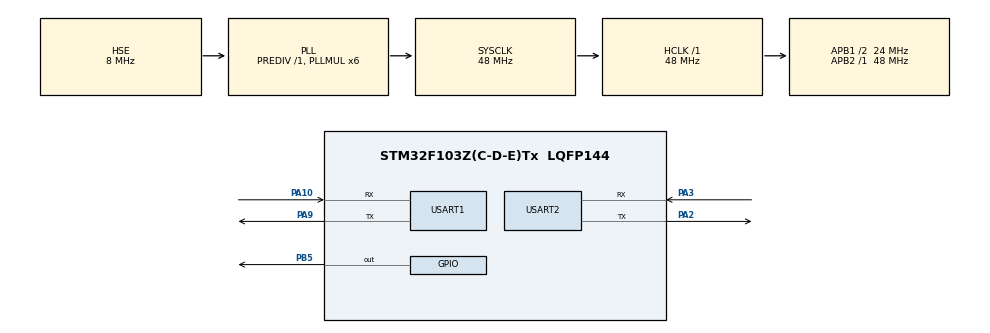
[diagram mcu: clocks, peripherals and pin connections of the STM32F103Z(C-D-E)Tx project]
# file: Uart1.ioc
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Mcu.Family=STM32F1
Mcu.Name=STM32F103Z(C-D-E)Tx
Mcu.Package=LQFP144
NVIC.PriorityGroup=NVIC_PRIORITYGROUP_2
NVIC.USART1_IRQn=true\:0\:1\:true\:false\:true\:true\:true
NVIC.USART2_IRQn=true\:0\:0\:false\:false\:true\:true\:true
OSC_IN.Mode=HSE-External-Oscillator
OSC_IN.Signal=RCC_OSC_IN
OSC_OUT.Mode=HSE-External-Oscillator
OSC_OUT.Signal=RCC_OSC_OUT
PA10.Mode=Asynchronous
PA10.Signal=USART1_RX
PA13.Mode=JTAG_4_pins
PA13.Signal=SYS_JTMS-SWDIO
PA14.Mode=JTAG_4_pins
PA14.Signal=SYS_JTCK-SWCLK
PA15.Mode=JTAG_4_pins
PA15.Signal=SYS_JTDI
PA2.Mode=Asynchronous
PA2.Signal=USART2_TX
PA3.Mode=Asynchronous
PA3.Signal=USART2_RX
PA9.Mode=Asynchronous
PA9.Signal=USART1_TX
PB3.Mode=JTAG_4_pins
PB3.Signal=SYS_JTDO-TRACESWO
PB5.Signal=GPIO_Output
PC14-OSC32_IN.Mode=LSE-External-Oscillator
PC14-OSC32_IN.Signal=RCC_OSC32_IN
PC15-OSC32_OUT.Mode=LSE-External-Oscillator
PC15-OSC32_OUT.Signal=RCC_OSC32_OUT
ProjectManager.HeapSize=0x200
ProjectManager.StackSize=0x400
ProjectManager.TargetToolchain=MDK-ARM V5.32
RCC.AHBFreq_Value=48000000
RCC.APB1CLKDivider=RCC_HCLK_DIV2
RCC.APB1Freq_Value=24000000
RCC.APB1TimFreq_Value=48000000
RCC.APB2Freq_Value=48000000
RCC.APB2TimFreq_Value=48000000
RCC.HCLKFreq_Value=48000000
RCC.PLLMUL=RCC_PLL_MUL6
RCC.PLLSourceVirtual=RCC_PLLSOURCE_HSE
RCC.SYSCLKFreq_VALUE=48000000
RCC.SYSCLKSource=RCC_SYSCLKSOURCE_PLLCLK
RCC.USBFreq_Value=48000000
USART1.VirtualMode=VM_ASYNC
USART2.VirtualMode=VM_ASYNC
board=custom

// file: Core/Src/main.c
/* USER CODE BEGIN Header */
/**
  ******************************************************************************
  * @file           : main.c
  * @brief          : Main program body
  ******************************************************************************
  * @attention
  *
  * <h2><center>&copy; Copyright (c) 2021 STMicroelectronics.
  * All rights reserved.</center></h2>
  *
  * This software component is licensed by ST under BSD 3-Clause license,
  * the "License"; You may not use this file except in compliance with the
  * License. You may obtain a copy of the License at:
  *                        opensource.org/licenses/BSD-3-Clause
  *
  ******************************************************************************
  */
/* USER CODE END Header */
#include "main.h"
#include "usart.h"
#include "gpio.h"

/* USER CODE BEGIN Includes */
#include <stdio.h>
#include "L610_Init.h"
#include "L610_TCP.h"
/* USER CODE END Includes */

/* USER CODE BEGIN PV */
uint8_t aRxBuffer[20];
/* USER CODE END PV */

void SystemClock_Config(void);

/* USER CODE BEGIN 0 */
char RxBuffer[200]={0};
char Rxcouter=0;
uint8_t pow_flg;
 char version[50]={0};
 int cereg_n=0;
  int cereg_stat=0;
 uint8_t uart1_rx=0;
/* USER CODE END 0 */

int main(void)
{
  /* USER CODE BEGIN 1 */
   // uint8_t aTxStartMessages[] = "123\r\n";
  /* USER CODE END 1 */

  /* MCU Configuration--------------------------------------------------------*/

  /* Reset of all peripherals, Initializes the Flash interface and the Systick. */
  HAL_Init();

  /* Configure the system clock */
  SystemClock_Config();

  /* Initialize all configured peripherals */
  MX_GPIO_Init();
  MX_USART1_UART_Init();
  MX_USART2_UART_Init();

  /* USER CODE BEGIN 2 */

	HAL_UART_Receive_IT(&huart1,&usart1RxBuffer,1);
	UART2_Printf("uart2 init success\r\n");
		UART2_Printf("WAIT_OPEN\r\n");
	//WAIT_OPEN();
		UART2_Printf("OPEN_MOUDLE\r\n");
	//OPEN_MOUDLE();//power on
	UART2_Printf("Fibcom_L610_init\r\n");
	Fibcom_L610_init();
	UART2_Printf("Check_socket\r\n");
	Check_socket();
	UART2_Printf("Creat_TCP\r\n");
	Creat_TCP();
	UART2_Printf("Creat_TCP end\r\n");
  /* USER CODE END 2 */

  /* Infinite loop */
  while (1)
  {

    /* USER CODE BEGIN 3 */

		 if(uart_rx_flag)
   {
       uart_rx_flag=0;

       printf(" uart_rx  rx_cnt [%d] : %s  ",rx_cnt,data_buff);
       if(strstr((const char *)data_buff,"TEST1"))
       {
           printf(" uart_rx test1 success\n");
       }
       else if(strstr((const char *)data_buff,"TEST2"))
       {
           printf(" uart_rx test2 success\n");
       }else if(strstr((const char *)data_buff,"+CEREG:")) //+CEREG: 0,1
       {
           sscanf((const char *)data_buff,"+CEREG: %d,%d",&cereg_n,&cereg_stat);

           printf(" uart_rx cereg_n[%d]  cereg_stat[%d]\n",cereg_n,cereg_stat);
           if((cereg_stat==1)||(cereg_stat==5))
           {
               printf(" uart_rx  Registration success\n");
           }
           else
           {
               printf(" uart_rx Registration fail\\n");
           }

       }
      // HAL_UART_Transmit_IT(&huart1 ,(uint8_t*)data_buff,rx_cnt);
       	//HAL_UART_Transmit(&huart1,data_buff,rx_cnt,2);
       //Delay_Nms(40);
       memset(data_buff,0,sizeof(data_buff));
       rx_cnt=0;
   }
  }
  /* USER CODE END 3 */
}

void SystemClock_Config(void)
{
  RCC_OscInitTypeDef RCC_OscInitStruct = {0};
  RCC_ClkInitTypeDef RCC_ClkInitStruct = {0};

  /** Initializes the RCC Oscillators according to the specified parameters
  * in the RCC_OscInitTypeDef structure.
  */
  RCC_OscInitStruct.OscillatorType = RCC_OSCILLATORTYPE_HSE;
  RCC_OscInitStruct.HSEState = RCC_HSE_ON;
  RCC_OscInitStruct.HSEPredivValue = RCC_HSE_PREDIV_DIV1;
  RCC_OscInitStruct.HSIState = RCC_HSI_ON;
  RCC_OscInitStruct.PLL.PLLState = RCC_PLL_ON;
  RCC_OscInitStruct.PLL.PLLSource = RCC_PLLSOURCE_HSE;
  RCC_OscInitStruct.PLL.PLLMUL = RCC_PLL_MUL6;
  if (HAL_RCC_OscConfig(&RCC_OscInitStruct) != HAL_OK)
  {
    Error_Handler();
  }
  /** Initializes the CPU, AHB and APB buses clocks
  */
  RCC_ClkInitStruct.ClockType = RCC_CLOCKTYPE_HCLK|RCC_CLOCKTYPE_SYSCLK
                              |RCC_CLOCKTYPE_PCLK1|RCC_CLOCKTYPE_PCLK2;
  RCC_ClkInitStruct.SYSCLKSource = RCC_SYSCLKSOURCE_PLLCLK;
  RCC_ClkInitStruct.AHBCLKDivider = RCC_SYSCLK_DIV1;
  RCC_ClkInitStruct.APB1CLKDivider = RCC_HCLK_DIV2;
  RCC_ClkInitStruct.APB2CLKDivider = RCC_HCLK_DIV1;

  if (HAL_RCC_ClockConfig(&RCC_ClkInitStruct, FLASH_LATENCY_1) != HAL_OK)
  {
    Error_Handler();
  }
}

void Error_Handler(void)
{
  __disable_irq();
  while (1)
  {
  }
}

/************************ (C) COPYRIGHT STMicroelectronics *****END OF FILE****/
